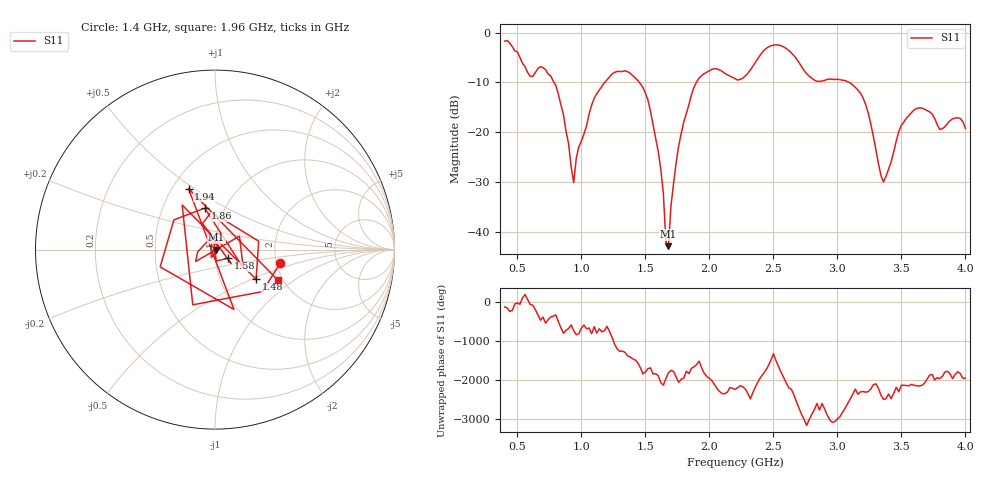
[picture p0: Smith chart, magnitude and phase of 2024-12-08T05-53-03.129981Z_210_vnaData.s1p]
!Created with skrf (http://scikit-rf.org).
# Hz S RI R 50.0
!freq ReS11 ImS11
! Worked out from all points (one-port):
!   181 points, 400 MHz to 4 GHz, reference 50 ohm
!   lowest |S11| = -42.9 dB at 1.68 GHz (marker M1), VSWR 1.01, Z = 50.7 - j0.1 ohm
!   |S11| at or under -10 dB: 786 MHz to 1.182 GHz (395.9 MHz wide, 40.2 % of centre); 1.453 GHz to 1.898 GHz (445.1 MHz wide, 26.6 % of centre); 3.092 GHz to end of sweep
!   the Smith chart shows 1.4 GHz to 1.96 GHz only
!   S11 on the Smith chart (normalised r, x): 1.4 GHz: 2.10, -0.37; 1.48 GHz: 1.48, -0.53; 1.58 GHz: 1.15, -0.11; 1.86 GHz: 0.81, +0.39; 1.94 GHz: 0.60, +0.47; 1.96 GHz: 1.88, -0.75
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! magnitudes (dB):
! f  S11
! 400 MHz  -1.7
! 600 MHz  -8.8
! 760 MHz  -8.7
! 860 MHz  -16.5
! 940 MHz  -30.1
! 980 MHz  -22.9
! 1.1 GHz  -13.2
! 1.3 GHz  -7.8
! 1.4 GHz  -8.6
! 1.48 GHz  -11.0
! 1.58 GHz  -21.3
! 1.64 GHz  -32.3
! 1.66 GHz  -42.1
! 1.68 GHz  -42.9
! 1.7 GHz  -34.8
! 1.76 GHz  -22.8
! 1.86 GHz  -12.5
! 1.94 GHz  -8.6
! 1.96 GHz  -8.2
! 2.2 GHz  -9.2
! 2.48 GHz  -2.6
! 2.66 GHz  -4.6
! 2.84 GHz  -9.8
! 3.1 GHz  -10.1
! 3.22 GHz  -14.4
! 3.36 GHz  -30.0
! 3.56 GHz  -16.6
! 4 GHz  -19.2
